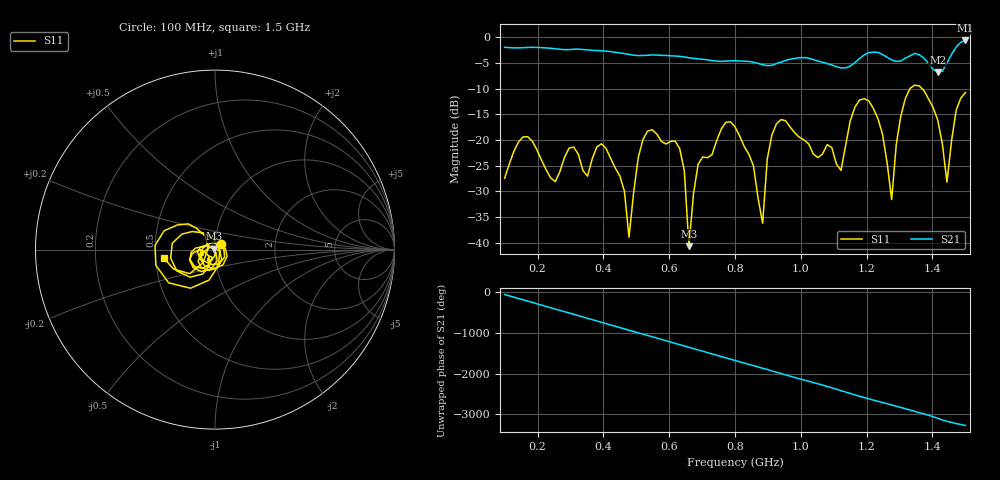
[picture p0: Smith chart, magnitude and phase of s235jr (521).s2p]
! NanoVNA-App
! Date: 2025-09-25 15:08:13
! Start: 100MHz Stop: 1,5GHz Points: 101
! S-Parameter data: F S11 S21 S12 S22
# Hz S RI R 50
!  Frequency  S11_Real  S11_Imag  S21_Real  S21_Imag  S12_Real  S12_Imag  S22_Real  S22_Imag
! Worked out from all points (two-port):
!   101 points, 100 MHz to 1.5 GHz, reference 50 ohm
!   highest |S21| = -0.64 dB at 1.5 GHz (marker M1); lowest = -6.9 dB at 1.416 GHz (marker M2)
!   |S21| within 3 dB of the highest: start of sweep to 609.1 MHz; 1.189 GHz to 1.255 GHz (66.15 MHz wide, 5.41 % of centre) (the widest 2 of 4)
!   lowest |S11| = -40.7 dB at 660 MHz (marker M3), VSWR 1.02, Z = 49.3 + j0.528 ohm
!   |S11| at or under -10 dB: start of sweep to 1.332 GHz; 1.368 GHz to end of sweep
!   S12 and S22 are empty: the file has one direction only
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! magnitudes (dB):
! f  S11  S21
! 100 MHz  -27.5  -2.0
! 156 MHz  -19.4  -2.0
! 338 MHz  -26.0  -2.4
! 408 MHz  -21.6  -2.7
! 478 MHz  -38.9  -3.4
! 520 MHz  -20.0  -3.6
! 576 MHz  -20.3  -3.5
! 632 MHz  -21.7  -3.7
! 660 MHz  -40.7  -4.0
! 688 MHz  -24.7  -4.2
! 800 MHz  -17.5  -4.6
! 884 MHz  -36.2  -5.4
! 898 MHz  -23.7  -5.5
! 926 MHz  -16.9  -5.1
! 1.038 GHz  -22.8  -4.4
! 1.122 GHz  -25.9  -6.0
! 1.206 GHz  -12.4  -3.0
! 1.276 GHz  -31.6  -4.4
! 1.332 GHz  -10.0  -3.6
! 1.416 GHz  -16.1  -6.9
! 1.444 GHz  -28.2  -5.0
! 1.5 GHz  -10.8  -0.6
